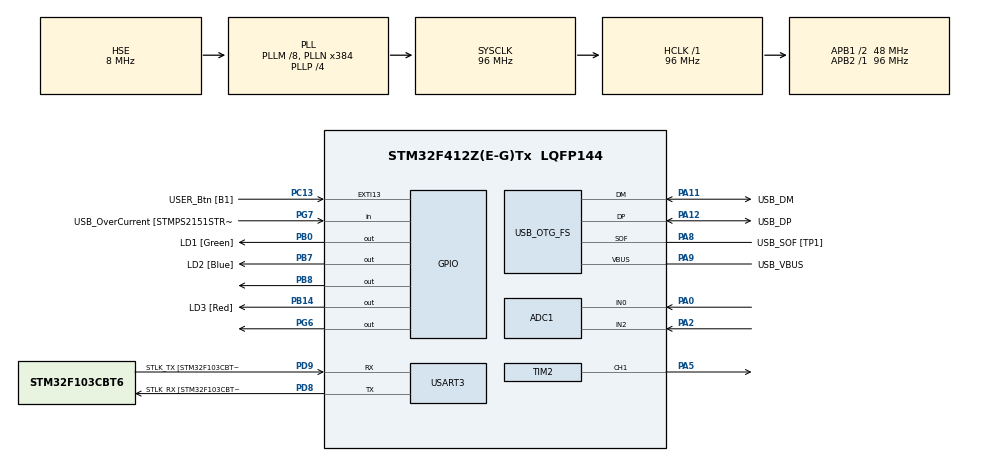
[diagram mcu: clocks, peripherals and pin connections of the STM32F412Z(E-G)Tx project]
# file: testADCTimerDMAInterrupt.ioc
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ADC1.Channel-2\#ChannelRegularConversion=ADC_CHANNEL_0
ADC1.Channel-3\#ChannelRegularConversion=ADC_CHANNEL_2
ADC1.ContinuousConvMode=DISABLE
ADC1.DMAContinuousRequests=ENABLE
ADC1.EOCSelection=ADC_EOC_SINGLE_CONV
ADC1.ExternalTrigConv=ADC_EXTERNALTRIGCONV_T2_TRGO
ADC1.ExternalTrigConvEdge=ADC_EXTERNALTRIGCONVEDGE_RISINGFALLING
ADC1.NbrOfConversion=2
ADC1.NbrOfConversionFlag=1
ADC1.Rank-2\#ChannelRegularConversion=1
ADC1.Rank-3\#ChannelRegularConversion=2
ADC1.SamplingTime-2\#ChannelRegularConversion=ADC_SAMPLETIME_3CYCLES
ADC1.SamplingTime-3\#ChannelRegularConversion=ADC_SAMPLETIME_3CYCLES
ADC1.master=1
Dma.ADC1.0.Direction=DMA_PERIPH_TO_MEMORY
Dma.ADC1.0.FIFOMode=DMA_FIFOMODE_DISABLE
Dma.ADC1.0.Instance=DMA2_Stream0
Dma.ADC1.0.MemDataAlignment=DMA_MDATAALIGN_HALFWORD
Dma.ADC1.0.MemInc=DMA_MINC_ENABLE
Dma.ADC1.0.Mode=DMA_CIRCULAR
Dma.ADC1.0.PeriphDataAlignment=DMA_PDATAALIGN_HALFWORD
Dma.ADC1.0.PeriphInc=DMA_PINC_DISABLE
Dma.ADC1.0.Priority=DMA_PRIORITY_LOW
Dma.Request0=ADC1
Dma.Request1=USART3_TX
Dma.USART3_TX.1.Direction=DMA_MEMORY_TO_PERIPH
Dma.USART3_TX.1.FIFOMode=DMA_FIFOMODE_DISABLE
Dma.USART3_TX.1.Instance=DMA1_Stream3
Dma.USART3_TX.1.MemDataAlignment=DMA_MDATAALIGN_BYTE
Dma.USART3_TX.1.MemInc=DMA_MINC_ENABLE
Dma.USART3_TX.1.Mode=DMA_NORMAL
Dma.USART3_TX.1.PeriphDataAlignment=DMA_PDATAALIGN_BYTE
Dma.USART3_TX.1.PeriphInc=DMA_PINC_DISABLE
Dma.USART3_TX.1.Priority=DMA_PRIORITY_LOW
Mcu.Family=STM32F4
Mcu.Name=STM32F412Z(E-G)Tx
Mcu.Package=LQFP144
NVIC.ADC_IRQn=true\:0\:0\:false\:false\:true\:true\:true\:true
NVIC.DMA1_Stream3_IRQn=true\:0\:0\:false\:false\:true\:false\:true\:true
NVIC.DMA2_Stream0_IRQn=true\:0\:0\:false\:false\:true\:false\:true\:true
NVIC.PriorityGroup=NVIC_PRIORITYGROUP_4
NVIC.TIM3_IRQn=true\:0\:0\:false\:false\:true\:true\:true\:true
NVIC.USART3_IRQn=true\:0\:0\:false\:false\:true\:true\:true\:true
PA0.Signal=ADCx_IN0
PA10.GPIO_Label=USB_ID
PA10.Signal=USB_OTG_FS_ID
PA11.GPIO_Label=USB_DM
PA11.Mode=Device_Only
PA11.Signal=USB_OTG_FS_DM
PA12.GPIO_Label=USB_DP
PA12.Mode=Device_Only
PA12.Signal=USB_OTG_FS_DP
PA13.GPIO_Label=TMS
PA13.Mode=Serial_Wire
PA13.Signal=SYS_JTMS-SWDIO
PA14.GPIO_Label=TCK
PA14.Mode=Serial_Wire
PA14.Signal=SYS_JTCK-SWCLK
PA2.Signal=ADCx_IN2
PA5.Signal=S_TIM2_CH1_ETR
PA8.GPIO_Label=USB_SOF [TP1]
PA8.Mode=Activate_SOF_FS
PA8.Signal=USB_OTG_FS_SOF
PA9.GPIO_Label=USB_VBUS
PA9.Mode=Activate_VBUS
PA9.Signal=USB_OTG_FS_VBUS
PB0.GPIO_Label=LD1 [Green]
PB0.Signal=GPIO_Output
PB14.GPIO_Label=LD3 [Red]
PB14.Signal=GPIO_Output
PB3.GPIO_Label=SWO
PB3.Signal=SYS_JTDO-SWO
PB7.GPIO_Label=LD2 [Blue]
PB7.Signal=GPIO_Output
PB8.Signal=GPIO_Output
PC13.GPIO_Label=USER_Btn [B1]
PC13.Signal=GPXTI13
PC14-OSC32_IN.Mode=LSE-External-Oscillator
PC14-OSC32_IN.Signal=RCC_OSC32_IN
PC15-OSC32_OUT.Mode=LSE-External-Oscillator
PC15-OSC32_OUT.Signal=RCC_OSC32_OUT
PD8.GPIO_Label=STLK_RX [STM32F103CBT6_PA3]
PD8.Mode=Asynchronous
PD8.Signal=USART3_TX
PD9.GPIO_Label=STLK_TX [STM32F103CBT6_PA2]
PD9.Mode=Asynchronous
PD9.Signal=USART3_RX
PG6.Signal=GPIO_Output
PG7.GPIO_Label=USB_OverCurrent [STMPS2151STR_FAULT]
PG7.Signal=GPIO_Input
PH0\ -\ OSC_IN.GPIO_Label=MCO
PH0\ -\ OSC_IN.Mode=HSE-External-Clock-Source
PH0\ -\ OSC_IN.Signal=RCC_OSC_IN
PH1\ -\ OSC_OUT.Mode=HSE-External-Clock-Source
PH1\ -\ OSC_OUT.Signal=RCC_OSC_OUT
ProjectManager.HeapSize=0x200
ProjectManager.StackSize=0x400
ProjectManager.TargetToolchain=STM32CubeIDE
RCC.48MHZClocksFreq_Value=24000000
RCC.AHBFreq_Value=96000000
RCC.APB1CLKDivider=RCC_HCLK_DIV2
RCC.APB1Freq_Value=48000000
RCC.APB1TimFreq_Value=96000000
RCC.APB2Freq_Value=96000000
RCC.APB2TimFreq_Value=96000000
RCC.CortexFreq_Value=96000000
RCC.HCLKFreq_Value=96000000
RCC.HSE_VALUE=8000000
RCC.HSI_VALUE=16000000
RCC.PLLM=8
RCC.PLLMUL=RCC_PLL_MUL9
RCC.PLLN=384
RCC.PLLP=RCC_PLLP_DIV4
RCC.PLLQ=8
RCC.PRESCALERUSB=RCC_USBCLKSOURCE_PLL_DIV1_5
RCC.SYSCLKFreq_VALUE=96000000
RCC.SYSCLKSource=RCC_SYSCLKSOURCE_PLLCLK
RCC.SYSCLKSourceVirtual=RCC_SYSCLKSOURCE_PLLCLK
RCC.USBFreq_Value=48000000
RCC.VCOOutputFreq_Value=384000000
SH.ADCx_IN0.0=ADC1_IN0,IN0
SH.ADCx_IN2.0=ADC1_IN2,IN2
SH.S_TIM2_CH1_ETR.0=TIM2_CH1,Output Compare1 CH1
TIM2.Channel-Output\ Compare1\ CH1=TIM_CHANNEL_1
TIM2.OCMode_1=TIM_OCMODE_TOGGLE
TIM2.Period=1000
TIM2.TIM_MasterOutputTrigger=TIM_TRGO_UPDATE
TIM2.TIM_MasterSlaveMode=TIM_MASTERSLAVEMODE_DISABLE
TIM3.Channel-Output\ Compare1\ No\ Output=TIM_CHANNEL_1
TIM3.Period=50000
TIM3.Prescaler=64
TIM3.Pulse-Output\ Compare1\ No\ Output=5000
TIM3.TIM_MasterOutputTrigger=TIM_TRGO_RESET
USART3.VirtualMode=VM_ASYNC
USB_OTG_FS.VirtualMode=Device_Only
VP_TIM2_VS_ClockSourceINT.Mode=Internal
VP_TIM3_VS_ClockSourceINT.Mode=Internal
VP_TIM3_VS_no_output1.Mode=Output Compare1 No Output
board=NUCLEO-F412ZG

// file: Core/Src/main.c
/* USER CODE BEGIN Header */
/**
  ******************************************************************************
  * @file           : main.c
  * @brief          : Main program body
  ******************************************************************************
  * @attention
  *
  * Copyright (c) 2023 STMicroelectronics.
  * All rights reserved.
  *
  * This software is licensed under terms that can be found in the LICENSE file
  * in the root directory of this software component.
  * If no LICENSE file comes with this software, it is provided AS-IS.
  *
  ******************************************************************************
  */
/* USER CODE END Header */
#include "main.h"

/* USER CODE BEGIN Includes */
#include<stdio.h>
#define ARM_MATH_CM4
#include "arm_math.h"
/* USER CODE END Includes */

/* USER CODE BEGIN PD */
#define FFT_SIZE 2048
/* USER CODE END PD */

ADC_HandleTypeDef hadc1;
DMA_HandleTypeDef hdma_adc1;

TIM_HandleTypeDef htim2;
TIM_HandleTypeDef htim3;

UART_HandleTypeDef huart3;
DMA_HandleTypeDef hdma_usart3_tx;

PCD_HandleTypeDef hpcd_USB_OTG_FS;

/* USER CODE BEGIN PV */
uint16_t raw[2];
uint16_t values[FFT_SIZE/2];
char msg[];
uint8_t transmitting = 0;
float fftin[FFT_SIZE];
float fftout[FFT_SIZE];
float fftin1[FFT_SIZE];
float fftout1[FFT_SIZE];
uint16_t increment = 0;
uint8_t bufferFull = 0;
uint8_t freshCycle = 0;
uint8_t fillBuffer = 0;
arm_rfft_fast_instance_f32 fftHandler;
uint32_t missedTransmit = 0;
uint32_t timeUART = 0;
uint32_t timeFFT = 0;
/* USER CODE END PV */

void SystemClock_Config(void);
static void MX_GPIO_Init(void);
static void MX_DMA_Init(void);
static void MX_USART3_UART_Init(void);
static void MX_USB_OTG_FS_PCD_Init(void);
static void MX_TIM2_Init(void);
static void MX_ADC1_Init(void);
static void MX_TIM3_Init(void);

int main(void)
{

  /* MCU Configuration--------------------------------------------------------*/

  /* Reset of all peripherals, Initializes the Flash interface and the Systick. */
  HAL_Init();

  /* Configure the system clock */
  SystemClock_Config();

  /* Initialize all configured peripherals */
  MX_GPIO_Init();
  MX_DMA_Init();
  MX_USART3_UART_Init();
  MX_USB_OTG_FS_PCD_Init();
  MX_TIM2_Init();
  MX_ADC1_Init();
  MX_TIM3_Init();
  /* USER CODE BEGIN 2 */
  HAL_ADC_Start_DMA(&hadc1, (uint32_t *)raw, 2);
  HAL_TIM_Base_Start_IT(&htim3);
  HAL_TIM_OC_Start_IT(&htim3, TIM_CHANNEL_1);
  arm_rfft_fast_init_f32(&fftHandler, FFT_SIZE);
  /* USER CODE END 2 */

  /* Infinite loop */
  /* USER CODE BEGIN WHILE */
  float peakVal = 0.0;
  uint32_t peakFreq = 0.0;
  float peakVal1 = 0.0;
  uint32_t peakFreq1 = 0.0;
  float phase = 0.0;
  float phase1 = 0.0;
  float phasedif = 0.0;

  while (1)
  {
	  if(increment == 2048){
		  timeFFT = HAL_GetTick();
		  arm_rfft_fast_f32(&fftHandler, &fftin, &fftout, 0);
		  arm_rfft_fast_f32(&fftHandler, &fftin1, &fftout1, 0);
		  increment = 0;
		  uint16_t freqincrement = 0;
		  for(uint16_t increment = 0; increment < FFT_SIZE; increment+=2){
			  float curVal = sqrtf((fftout[increment] * fftout[increment]) + (fftout[increment+1]*fftout[increment+1]));
			  values[freqincrement] = curVal;
			  float curVal1 = sqrtf((fftout1[increment] * fftout1[increment]) + (fftout1[increment+1]*fftout1[increment+1]));
			  if(curVal > peakVal){
				  peakVal = curVal;
				  peakFreq = (uint32_t) (freqincrement * 96153)/((float) FFT_SIZE);
				  phase = atan2(fftout[increment+1], fftout[increment]);
			  }
			  if(curVal1 > peakVal1){
				  peakVal1 = curVal1;
				  peakFreq1 = (uint32_t) (freqincrement * 96153)/((float) FFT_SIZE);
				  phase1 = atan2(fftout1[increment+1], fftout1[increment]);
			  }
			  freqincrement++;
		  }
		  phasedif = phase1 - phase;
		  timeFFT = HAL_GetTick() - timeFFT;
		  if(!transmitting){
			  sprintf(msg, "FFT Time: %d UART Time: %d Missed: %d F1: %d F2: %d\r\n", timeFFT, timeUART, missedTransmit, peakFreq, peakFreq1);
			  HAL_UART_Transmit_DMA(&huart3, (uint8_t*)msg, strlen(msg));
			  transmitting = 1;
			  timeUART = HAL_GetTick();
		  } else {
			  missedTransmit++;
		  }
		  peakVal = 0.0;
		  peakFreq = 0.0;
		  peakVal1 = 0.0;
		  peakFreq1 = 0.0;
	  }

    /* USER CODE END WHILE */

  }
}

void SystemClock_Config(void)
{
  RCC_OscInitTypeDef RCC_OscInitStruct = {0};
  RCC_ClkInitTypeDef RCC_ClkInitStruct = {0};

  /** Configure the main internal regulator output voltage
  */
  __HAL_RCC_PWR_CLK_ENABLE();
  __HAL_PWR_VOLTAGESCALING_CONFIG(PWR_REGULATOR_VOLTAGE_SCALE1);

  /** Initializes the RCC Oscillators according to the specified parameters
  * in the RCC_OscInitTypeDef structure.
  */
  RCC_OscInitStruct.OscillatorType = RCC_OSCILLATORTYPE_HSE;
  RCC_OscInitStruct.HSEState = RCC_HSE_BYPASS;
  RCC_OscInitStruct.PLL.PLLState = RCC_PLL_ON;
  RCC_OscInitStruct.PLL.PLLSource = RCC_PLLSOURCE_HSE;
  RCC_OscInitStruct.PLL.PLLM = 8;
  RCC_OscInitStruct.PLL.PLLN = 384;
  RCC_OscInitStruct.PLL.PLLP = RCC_PLLP_DIV4;
  RCC_OscInitStruct.PLL.PLLQ = 8;
  RCC_OscInitStruct.PLL.PLLR = 2;
  if (HAL_RCC_OscConfig(&RCC_OscInitStruct) != HAL_OK)
  {
    Error_Handler();
  }

  /** Initializes the CPU, AHB and APB buses clocks
  */
  RCC_ClkInitStruct.ClockType = RCC_CLOCKTYPE_HCLK|RCC_CLOCKTYPE_SYSCLK
                              |RCC_CLOCKTYPE_PCLK1|RCC_CLOCKTYPE_PCLK2;
  RCC_ClkInitStruct.SYSCLKSource = RCC_SYSCLKSOURCE_PLLCLK;
  RCC_ClkInitStruct.AHBCLKDivider = RCC_SYSCLK_DIV1;
  RCC_ClkInitStruct.APB1CLKDivider = RCC_HCLK_DIV2;
  RCC_ClkInitStruct.APB2CLKDivider = RCC_HCLK_DIV1;

  if (HAL_RCC_ClockConfig(&RCC_ClkInitStruct, FLASH_LATENCY_3) != HAL_OK)
  {
    Error_Handler();
  }
}

static void MX_ADC1_Init(void)
{

  ADC_ChannelConfTypeDef sConfig = {0};

  /** Configure the global features of the ADC (Clock, Resolution, Data Alignment and number of conversion)
  */
  hadc1.Instance = ADC1;
  hadc1.Init.ClockPrescaler = ADC_CLOCK_SYNC_PCLK_DIV4;
  hadc1.Init.Resolution = ADC_RESOLUTION_12B;
  hadc1.Init.ScanConvMode = ENABLE;
  hadc1.Init.ContinuousConvMode = DISABLE;
  hadc1.Init.DiscontinuousConvMode = DISABLE;
  hadc1.Init.ExternalTrigConvEdge = ADC_EXTERNALTRIGCONVEDGE_RISINGFALLING;
  hadc1.Init.ExternalTrigConv = ADC_EXTERNALTRIGCONV_T2_TRGO;
  hadc1.Init.DataAlign = ADC_DATAALIGN_RIGHT;
  hadc1.Init.NbrOfConversion = 2;
  hadc1.Init.DMAContinuousRequests = ENABLE;
  hadc1.Init.EOCSelection = ADC_EOC_SINGLE_CONV;
  if (HAL_ADC_Init(&hadc1) != HAL_OK)
  {
    Error_Handler();
  }

  /** Configure for the selected ADC regular channel its corresponding rank in the sequencer and its sample time.
  */
  sConfig.Channel = ADC_CHANNEL_0;
  sConfig.Rank = 1;
  sConfig.SamplingTime = ADC_SAMPLETIME_3CYCLES;
  if (HAL_ADC_ConfigChannel(&hadc1, &sConfig) != HAL_OK)
  {
    Error_Handler();
  }

  /** Configure for the selected ADC regular channel its corresponding rank in the sequencer and its sample time.
  */
  sConfig.Channel = ADC_CHANNEL_2;
  sConfig.Rank = 2;
  if (HAL_ADC_ConfigChannel(&hadc1, &sConfig) != HAL_OK)
  {
    Error_Handler();
  }

}

static void MX_TIM2_Init(void)
{

  TIM_ClockConfigTypeDef sClockSourceConfig = {0};
  TIM_MasterConfigTypeDef sMasterConfig = {0};
  TIM_OC_InitTypeDef sConfigOC = {0};

  htim2.Instance = TIM2;
  htim2.Init.Prescaler = 0;
  htim2.Init.CounterMode = TIM_COUNTERMODE_UP;
  htim2.Init.Period = 1000;
  htim2.Init.ClockDivision = TIM_CLOCKDIVISION_DIV1;
  htim2.Init.AutoReloadPreload = TIM_AUTORELOAD_PRELOAD_DISABLE;
  if (HAL_TIM_Base_Init(&htim2) != HAL_OK)
  {
    Error_Handler();
  }
  sClockSourceConfig.ClockSource = TIM_CLOCKSOURCE_INTERNAL;
  if (HAL_TIM_ConfigClockSource(&htim2, &sClockSourceConfig) != HAL_OK)
  {
    Error_Handler();
  }
  if (HAL_TIM_OC_Init(&htim2) != HAL_OK)
  {
    Error_Handler();
  }
  sMasterConfig.MasterOutputTrigger = TIM_TRGO_UPDATE;
  sMasterConfig.MasterSlaveMode = TIM_MASTERSLAVEMODE_DISABLE;
  if (HAL_TIMEx_MasterConfigSynchronization(&htim2, &sMasterConfig) != HAL_OK)
  {
    Error_Handler();
  }
  sConfigOC.OCMode = TIM_OCMODE_TOGGLE;
  sConfigOC.Pulse = 0;
  sConfigOC.OCPolarity = TIM_OCPOLARITY_HIGH;
  sConfigOC.OCFastMode = TIM_OCFAST_DISABLE;
  if (HAL_TIM_OC_ConfigChannel(&htim2, &sConfigOC, TIM_CHANNEL_1) != HAL_OK)
  {
    Error_Handler();
  }
  HAL_TIM_MspPostInit(&htim2);

}

static void MX_TIM3_Init(void)
{

  TIM_ClockConfigTypeDef sClockSourceConfig = {0};
  TIM_MasterConfigTypeDef sMasterConfig = {0};
  TIM_OC_InitTypeDef sConfigOC = {0};

  htim3.Instance = TIM3;
  htim3.Init.Prescaler = 64;
  htim3.Init.CounterMode = TIM_COUNTERMODE_UP;
  htim3.Init.Period = 50000;
  htim3.Init.ClockDivision = TIM_CLOCKDIVISION_DIV1;
  htim3.Init.AutoReloadPreload = TIM_AUTORELOAD_PRELOAD_DISABLE;
  if (HAL_TIM_Base_Init(&htim3) != HAL_OK)
  {
    Error_Handler();
  }
  sClockSourceConfig.ClockSource = TIM_CLOCKSOURCE_INTERNAL;
  if (HAL_TIM_ConfigClockSource(&htim3, &sClockSourceConfig) != HAL_OK)
  {
    Error_Handler();
  }
  if (HAL_TIM_OC_Init(&htim3) != HAL_OK)
  {
    Error_Handler();
  }
  sMasterConfig.MasterOutputTrigger = TIM_TRGO_RESET;
  sMasterConfig.MasterSlaveMode = TIM_MASTERSLAVEMODE_DISABLE;
  if (HAL_TIMEx_MasterConfigSynchronization(&htim3, &sMasterConfig) != HAL_OK)
  {
    Error_Handler();
  }
  sConfigOC.OCMode = TIM_OCMODE_TIMING;
  sConfigOC.Pulse = 5000;
  sConfigOC.OCPolarity = TIM_OCPOLARITY_HIGH;
  sConfigOC.OCFastMode = TIM_OCFAST_DISABLE;
  if (HAL_TIM_OC_ConfigChannel(&htim3, &sConfigOC, TIM_CHANNEL_1) != HAL_OK)
  {
    Error_Handler();
  }

}

static void MX_USART3_UART_Init(void)
{

  huart3.Instance = USART3;
  huart3.Init.BaudRate = 115200;
  huart3.Init.WordLength = UART_WORDLENGTH_8B;
  huart3.Init.StopBits = UART_STOPBITS_1;
  huart3.Init.Parity = UART_PARITY_NONE;
  huart3.Init.Mode = UART_MODE_TX_RX;
  huart3.Init.HwFlowCtl = UART_HWCONTROL_NONE;
  huart3.Init.OverSampling = UART_OVERSAMPLING_16;
  if (HAL_UART_Init(&huart3) != HAL_OK)
  {
    Error_Handler();
  }

}

static void MX_USB_OTG_FS_PCD_Init(void)
{

  hpcd_USB_OTG_FS.Instance = USB_OTG_FS;
  hpcd_USB_OTG_FS.Init.dev_endpoints = 6;
  hpcd_USB_OTG_FS.Init.speed = PCD_SPEED_FULL;
  hpcd_USB_OTG_FS.Init.dma_enable = DISABLE;
  hpcd_USB_OTG_FS.Init.phy_itface = PCD_PHY_EMBEDDED;
  hpcd_USB_OTG_FS.Init.Sof_enable = ENABLE;
  hpcd_USB_OTG_FS.Init.low_power_enable = DISABLE;
  hpcd_USB_OTG_FS.Init.lpm_enable = DISABLE;
  hpcd_USB_OTG_FS.Init.battery_charging_enable = ENABLE;
  hpcd_USB_OTG_FS.Init.vbus_sensing_enable = ENABLE;
  hpcd_USB_OTG_FS.Init.use_dedicated_ep1 = DISABLE;
  if (HAL_PCD_Init(&hpcd_USB_OTG_FS) != HAL_OK)
  {
    Error_Handler();
  }

}

static void MX_DMA_Init(void)
{

  /* DMA controller clock enable */
  __HAL_RCC_DMA2_CLK_ENABLE();
  __HAL_RCC_DMA1_CLK_ENABLE();

  /* DMA interrupt init */
  /* DMA1_Stream3_IRQn interrupt configuration */
  HAL_NVIC_SetPriority(DMA1_Stream3_IRQn, 0, 0);
  HAL_NVIC_EnableIRQ(DMA1_Stream3_IRQn);
  /* DMA2_Stream0_IRQn interrupt configuration */
  HAL_NVIC_SetPriority(DMA2_Stream0_IRQn, 0, 0);
  HAL_NVIC_EnableIRQ(DMA2_Stream0_IRQn);

}

static void MX_GPIO_Init(void)
{
  GPIO_InitTypeDef GPIO_InitStruct = {0};

  /* GPIO Ports Clock Enable */
  __HAL_RCC_GPIOC_CLK_ENABLE();
  __HAL_RCC_GPIOH_CLK_ENABLE();
  __HAL_RCC_GPIOA_CLK_ENABLE();
  __HAL_RCC_GPIOB_CLK_ENABLE();
  __HAL_RCC_GPIOD_CLK_ENABLE();
  __HAL_RCC_GPIOG_CLK_ENABLE();

  /*Configure GPIO pin Output Level */
  HAL_GPIO_WritePin(GPIOB, LD1_Pin|LD3_Pin|LD2_Pin|GPIO_PIN_8, GPIO_PIN_RESET);

  /*Configure GPIO pin Output Level */
  HAL_GPIO_WritePin(GPIOG, GPIO_PIN_6, GPIO_PIN_RESET);

  /*Configure GPIO pin : USER_Btn_Pin */
  GPIO_InitStruct.Pin = USER_Btn_Pin;
  GPIO_InitStruct.Mode = GPIO_MODE_IT_RISING;
  GPIO_InitStruct.Pull = GPIO_NOPULL;
  HAL_GPIO_Init(USER_Btn_GPIO_Port, &GPIO_InitStruct);

  /*Configure GPIO pins : LD1_Pin LD3_Pin LD2_Pin PB8 */
  GPIO_InitStruct.Pin = LD1_Pin|LD3_Pin|LD2_Pin|GPIO_PIN_8;
  GPIO_InitStruct.Mode = GPIO_MODE_OUTPUT_PP;
  GPIO_InitStruct.Pull = GPIO_NOPULL;
  GPIO_InitStruct.Speed = GPIO_SPEED_FREQ_LOW;
  HAL_GPIO_Init(GPIOB, &GPIO_InitStruct);

  /*Configure GPIO pin : PG6 */
  GPIO_InitStruct.Pin = GPIO_PIN_6;
  GPIO_InitStruct.Mode = GPIO_MODE_OUTPUT_PP;
  GPIO_InitStruct.Pull = GPIO_NOPULL;
  GPIO_InitStruct.Speed = GPIO_SPEED_FREQ_LOW;
  HAL_GPIO_Init(GPIOG, &GPIO_InitStruct);

  /*Configure GPIO pin : USB_OverCurrent_Pin */
  GPIO_InitStruct.Pin = USB_OverCurrent_Pin;
  GPIO_InitStruct.Mode = GPIO_MODE_INPUT;
  GPIO_InitStruct.Pull = GPIO_NOPULL;
  HAL_GPIO_Init(USB_OverCurrent_GPIO_Port, &GPIO_InitStruct);

}

/* USER CODE BEGIN 4 */

void HAL_TIM_OC_DelayElapsedCallback (TIM_HandleTypeDef * htim){
	if(htim == &htim3){
		HAL_TIM_Base_Start_IT(&htim2);
		HAL_TIM_OC_Start(&htim2, TIM_CHANNEL_1);
		freshCycle = 1;
	}
}

void HAL_TIM_PeriodElapsedCallback (TIM_HandleTypeDef * htim){
	if(htim == &htim3){
		HAL_TIM_Base_Stop_IT(&htim2);
		HAL_TIM_OC_Stop(&htim2, TIM_CHANNEL_1);
	}
}

void HAL_ADC_ConvCpltCallback(ADC_HandleTypeDef* hadc){
	HAL_GPIO_TogglePin(GPIOB, GPIO_PIN_8);
	if(increment == 0 && freshCycle == 1){
		fillBuffer = 1;
	}
	freshCycle = 0;
	if(increment < 2048 && fillBuffer){
		float in1 = raw[0];
		in1 = (in1-2048)/1000;
		float in2 = raw[1];
		in2 = (in2-2048)/1000;
		fftin[increment] = in1;
		fftin1[increment] = in2;
		increment++;
	} else {
		fillBuffer = 0;
	}
	/*
	if(transmitting == 0){
		sprintf(msg, "Potentiometer: %d Waveform: %d\r\n", raw[0], raw[1]);
		HAL_UART_Transmit_DMA(&huart3, (uint8_t*)msg, strlen(msg));
		transmitting = 1;
	}*/
}
void HAL_UART_TxCpltCallback(UART_HandleTypeDef *huart){
	transmitting = 0;
	timeUART = HAL_GetTick() - timeUART;
}
/* USER CODE END 4 */

void Error_Handler(void)
{
  __disable_irq();
  while (1)
  {
  }
}
